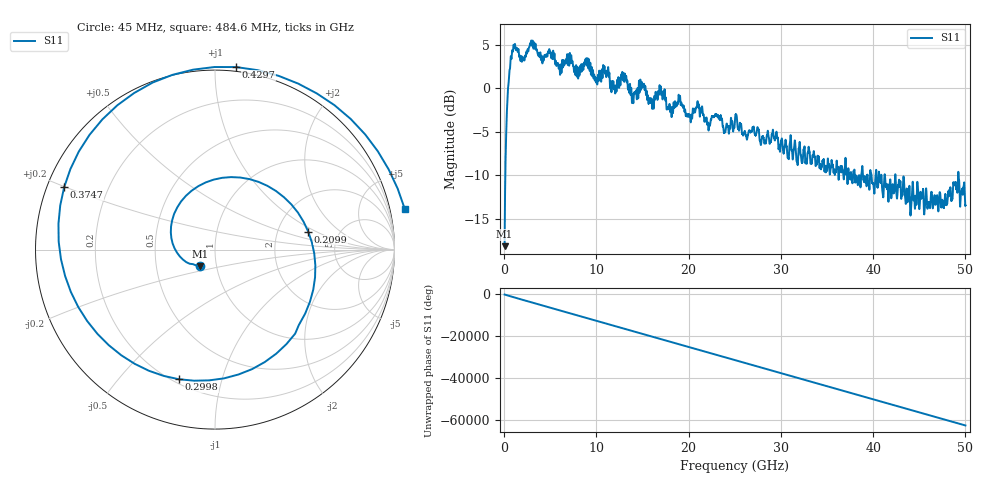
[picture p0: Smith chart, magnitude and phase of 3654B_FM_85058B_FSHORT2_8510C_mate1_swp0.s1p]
!Created with skrf (http://scikit-rf.org).
# Hz S RI R 50.0
!freq ReS11 ImS11
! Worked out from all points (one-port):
!   10001 points, 45 MHz to 50 GHz, reference 50 ohm
!   lowest |S11| = -18.1 dB at 45 MHz (marker M1), VSWR 1.28, Z = 41.8 - j7.9 ohm
!   |S11| at or under -10 dB: 41.28 GHz to 42.39 GHz (1.109 GHz wide, 2.65 % of centre); 42.42 GHz to 49.2 GHz (6.785 GHz wide, 14.8 % of centre); 49.26 GHz to end of sweep (the widest 3 of 17)
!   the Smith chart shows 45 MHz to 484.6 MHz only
!   S11 on the Smith chart (normalised r, x): 45 MHz: 0.84, -0.16; 209.9 MHz: 2.99, +0.83; 299.8 MHz: 0.22, -0.73; 374.7 MHz: 0.05, +0.20; 429.7 MHz: -0.03, +1.12; 484.6 MHz: -3.03, +8.24
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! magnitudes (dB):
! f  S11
! 45 MHz  -18.1
! 209.9 MHz  -5.5
! 299.8 MHz  -2.5
! 374.7 MHz  -0.8
! 429.7 MHz  0.2
! 484.6 MHz  0.7
! 794.3 MHz  3.4
! 1.174 GHz  5.1
! 1.983 GHz  3.6
! 3.027 GHz  4.9
! 6.289 GHz  3.3
! 8.977 GHz  2.6
! 9.896 GHz  1.2
! 12.53 GHz  1.2
! 13.93 GHz  -0.7
! 14.97 GHz  0.1
! 16 GHz  -1.3
! 16.9 GHz  -0.1
! 17.94 GHz  -1.9
! 18.78 GHz  -1.6
! 22.1 GHz  -4.1
! 25.02 GHz  -3.6
! 31.27 GHz  -8.1
! 37.51 GHz  -10.5
! 43.76 GHz  -12.6
! 47.55 GHz  -13.0
! 49.1 GHz  -11.7
! 50 GHz  -13.4
